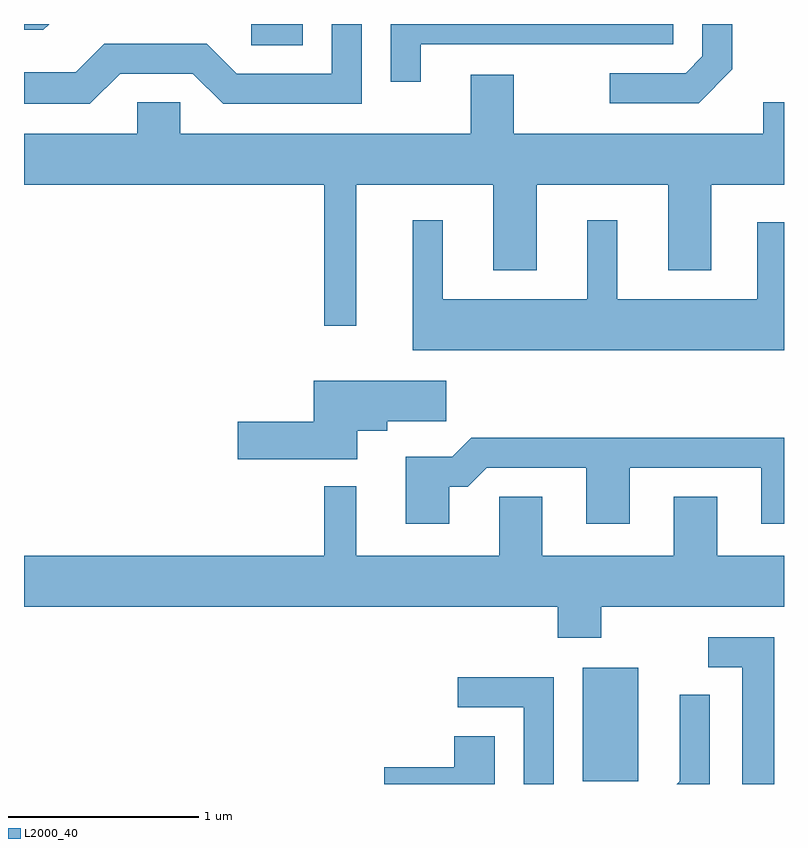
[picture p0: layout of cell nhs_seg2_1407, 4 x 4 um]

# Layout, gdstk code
import gdstk
lib = gdstk.Library(unit=1e-6, precision=1e-09)
def R(c, l, rs):  # rectangles x0, y0, x1, y1
    for r in rs: c.add(gdstk.rectangle(r[:2], r[2:], *l))
def P(c, l, *ps):  # polygons
    for p in ps: c.add(gdstk.Polygon(p, *l))
L2000_40 = (2000, 40)

nhs_seg2_1407 = lib.new_cell('nhs_seg2_1407')
R(nhs_seg2_1407, L2000_40, [(228.551,1071.816,228.844,1072.414), (226.808,1075.691,227.079,1075.802)])
P(nhs_seg2_1407, L2000_40, [(227.699,1075.696),(229.029,1075.696),(229.029,1075.802),(227.541,1075.802),(227.541,1075.498),(227.699,1075.498)],
  [(225.743,1075.802),(225.611,1075.802),(225.611,1075.771),(225.712,1075.771)],
  [(229.339,1075.564),(229.339,1075.802),(229.181,1075.802),(229.181,1075.632),(229.094,1075.544),(228.693,1075.544),(228.693,1075.386),(229.162,1075.386)],
  [(226.117,1075.541),(226.499,1075.541),(226.659,1075.381),(227.389,1075.381),(227.389,1075.802),(227.231,1075.802),(227.231,1075.539),(226.732,1075.539),(226.572,1075.699),(226.034,1075.699),(225.884,1075.549),(225.611,1075.549),(225.611,1075.381),(225.957,1075.381)],
  [(227.359,1074.956),(228.081,1074.956),(228.081,1074.506),(228.309,1074.506),(228.309,1074.956),(229.001,1074.956),(229.001,1074.506),(229.229,1074.506),(229.229,1074.956),(229.611,1074.956),(229.611,1075.389),(229.501,1075.389),(229.501,1075.224),(228.189,1075.224),(228.189,1075.534),(227.961,1075.534),(227.961,1075.224),(226.434,1075.224),(226.434,1075.389),(226.206,1075.389),(226.206,1075.224),(225.611,1075.224),(225.611,1074.956),(227.191,1074.956),(227.191,1074.213),(227.359,1074.213)],
  [(229.611,1074.759),(229.471,1074.759),(229.471,1074.354),(228.734,1074.354),(228.734,1074.768),(228.576,1074.768),(228.576,1074.354),(227.814,1074.354),(227.814,1074.768),(227.656,1074.768),(227.656,1074.086),(229.611,1074.086)],
  [(227.364,1073.661),(227.524,1073.661),(227.524,1073.711),(227.834,1073.711),(227.834,1073.924),(227.136,1073.924),(227.136,1073.709),(226.736,1073.709),(226.736,1073.511),(227.364,1073.511)],
  [(227.849,1073.366),(227.947,1073.366),(228.047,1073.466),(228.571,1073.466),(228.571,1073.171),(228.799,1073.171),(228.799,1073.466),(229.491,1073.466),(229.491,1073.171),(229.611,1073.171),(229.611,1073.624),(227.964,1073.624),(227.864,1073.524),(227.621,1073.524),(227.621,1073.171),(227.849,1073.171)],
  [(228.649,1072.736),(229.611,1072.736),(229.611,1073.004),(229.259,1073.004),(229.259,1073.314),(229.031,1073.314),(229.031,1073.004),(228.339,1073.004),(228.339,1073.314),(228.111,1073.314),(228.111,1073.004),(227.359,1073.004),(227.359,1073.368),(227.191,1073.368),(227.191,1073.004),(225.611,1073.004),(225.611,1072.736),(228.421,1072.736),(228.421,1072.571),(228.649,1072.571)],
  [(229.559,1072.574),(229.213,1072.574),(229.213,1072.416),(229.391,1072.416),(229.391,1071.802),(229.559,1071.802)],
  [(228.399,1072.364),(227.893,1072.364),(227.893,1072.206),(228.241,1072.206),(228.241,1071.802),(228.399,1071.802)],
  [(229.219,1072.273),(229.061,1072.273),(229.061,1071.817),(229.046,1071.802),(229.219,1071.802)],
  [(228.089,1072.054),(227.876,1072.054),(227.876,1071.889),(227.506,1071.889),(227.506,1071.802),(228.089,1071.802)])

lib.write_gds('nhs_seg2_1407.gds')
